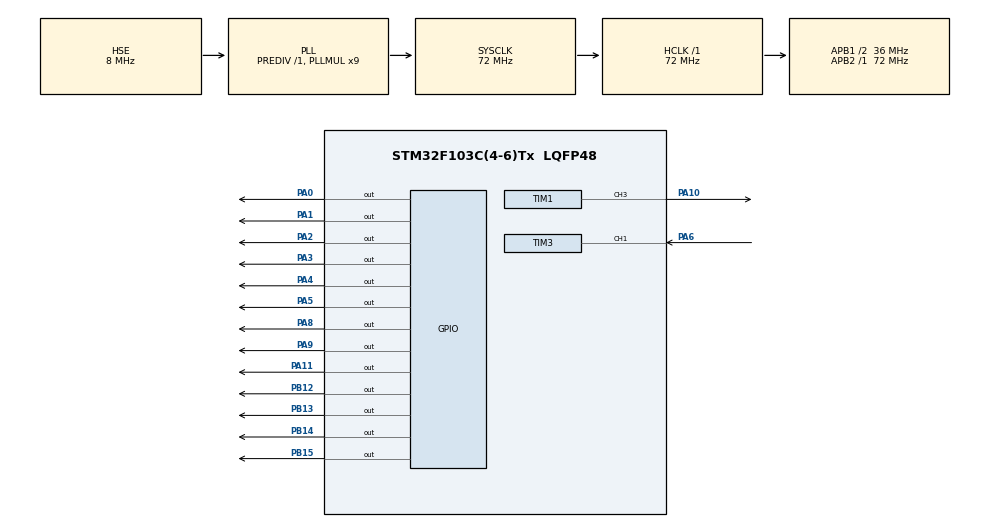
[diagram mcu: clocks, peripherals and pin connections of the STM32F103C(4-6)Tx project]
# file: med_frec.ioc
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Mcu.Family=STM32F1
Mcu.Name=STM32F103C(4-6)Tx
Mcu.Package=LQFP48
NVIC.PriorityGroup=NVIC_PRIORITYGROUP_4
NVIC.TIM2_IRQn=true\:0\:0\:false\:false\:true\:true\:true
PA0-WKUP.Signal=GPIO_Output
PA1.Signal=GPIO_Output
PA10.Signal=S_TIM1_CH3
PA11.Signal=GPIO_Output
PA13.Mode=Serial_Wire
PA13.Signal=SYS_JTMS-SWDIO
PA14.Mode=Serial_Wire
PA14.Signal=SYS_JTCK-SWCLK
PA2.Signal=GPIO_Output
PA3.Signal=GPIO_Output
PA4.Signal=GPIO_Output
PA5.Signal=GPIO_Output
PA6.Signal=S_TIM3_CH1
PA8.Signal=GPIO_Output
PA9.Signal=GPIO_Output
PB12.Signal=GPIO_Output
PB13.Signal=GPIO_Output
PB14.Signal=GPIO_Output
PB15.Signal=GPIO_Output
PD0-OSC_IN.Mode=HSE-External-Oscillator
PD0-OSC_IN.Signal=RCC_OSC_IN
PD1-OSC_OUT.Mode=HSE-External-Oscillator
PD1-OSC_OUT.Signal=RCC_OSC_OUT
ProjectManager.HeapSize=0x200
ProjectManager.StackSize=0x400
ProjectManager.TargetToolchain=STM32CubeIDE
RCC.AHBFreq_Value=72000000
RCC.APB1CLKDivider=RCC_HCLK_DIV2
RCC.APB1Freq_Value=36000000
RCC.APB1TimFreq_Value=72000000
RCC.APB2Freq_Value=72000000
RCC.APB2TimFreq_Value=72000000
RCC.HCLKFreq_Value=72000000
RCC.PLLMUL=RCC_PLL_MUL9
RCC.PLLSourceVirtual=RCC_PLLSOURCE_HSE
RCC.SYSCLKFreq_VALUE=72000000
RCC.SYSCLKSource=RCC_SYSCLKSOURCE_PLLCLK
RCC.USBFreq_Value=72000000
SH.S_TIM1_CH3.0=TIM1_CH3,PWM Generation3 CH3
SH.S_TIM3_CH1.0=TIM3_CH1,TriggerSource_TI1FP1
TIM1.Channel-PWM\ Generation3\ CH3=TIM_CHANNEL_3
TIM1.Period=1999
TIM1.Prescaler=719
TIM1.Pulse-PWM\ Generation3\ CH3=500
TIM2.Period=1
TIM2.Prescaler=35999
TIM3.Period=0xFFFF
VP_TIM1_VS_ClockSourceINT.Mode=Internal
VP_TIM2_VS_ClockSourceINT.Mode=Internal
VP_TIM3_VS_ControllerModeClock.Mode=Clock Mode
board=custom

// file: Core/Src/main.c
/* USER CODE BEGIN Header */
/**
  ******************************************************************************
  * @file           : main.c
  * @brief          : Main program body
  ******************************************************************************
  * @attention
  *
  * <h2><center>&copy; Copyright (c) 2020 STMicroelectronics.
  * All rights reserved.</center></h2>
  *
  * This software component is licensed by ST under BSD 3-Clause license,
  * the "License"; You may not use this file except in compliance with the
  * License. You may obtain a copy of the License at:
  *                        opensource.org/licenses/BSD-3-Clause
  *
  ******************************************************************************
  */
/* USER CODE END Header */

#include "main.h"

/* USER CODE BEGIN Includes */
#include "LiquidCrystal.h"
/* USER CODE END Includes */

/* USER CODE BEGIN PD */
volatile uint32_t counter_f = 0;
volatile int escala = 0;
/* USER CODE END PD */

TIM_HandleTypeDef htim1;
TIM_HandleTypeDef htim2;
TIM_HandleTypeDef htim3;

void SystemClock_Config(void);
static void MX_GPIO_Init(void);
static void MX_TIM2_Init(void);
static void MX_TIM3_Init(void);
static void MX_TIM1_Init(void);

int main(void)
{

  /* MCU Configuration--------------------------------------------------------*/

  /* Reset of all peripherals, Initializes the Flash interface and the Systick. */
  HAL_Init();

  /* Configure the system clock */
  SystemClock_Config();

  /* Initialize all configured peripherals */
  MX_GPIO_Init();
  MX_TIM2_Init();
  MX_TIM3_Init();
  MX_TIM1_Init();
  /* USER CODE BEGIN 2 */
  HAL_TIM_Base_Start_IT(&htim2);
  HAL_TIM_Base_Start(&htim3);
  HAL_TIM_PWM_Start(&htim1, TIM_CHANNEL_3);
  LiquidCrystal(GPIOA, GPIO_PIN_5, GPIO_PIN_4, GPIO_PIN_11, GPIO_PIN_3, GPIO_PIN_2, GPIO_PIN_1, GPIO_PIN_0);
  noAutoscroll();
  /* USER CODE END 2 */

  /* Infinite loop */
  /* USER CODE BEGIN WHILE */
  while (1)
  {

	  if(counter_f >= 1 && counter_f <= 9){
		  HAL_GPIO_WritePin(GPIOB, GPIO_PIN_12, GPIO_PIN_SET);
		  HAL_GPIO_WritePin(GPIOB, GPIO_PIN_13, GPIO_PIN_RESET);
		  HAL_GPIO_WritePin(GPIOB, GPIO_PIN_14, GPIO_PIN_RESET);
		  HAL_GPIO_WritePin(GPIOB, GPIO_PIN_15, GPIO_PIN_RESET);
		  HAL_GPIO_WritePin(GPIOA, GPIO_PIN_8, GPIO_PIN_RESET);
		  HAL_GPIO_WritePin(GPIOA, GPIO_PIN_9, GPIO_PIN_RESET);
		  escala = counter_f;
		  print("khz");
	  }else if(counter_f >= 10 && counter_f <= 99){
		  HAL_GPIO_WritePin(GPIOB, GPIO_PIN_12, GPIO_PIN_RESET);
		  		  HAL_GPIO_WritePin(GPIOB, GPIO_PIN_13, GPIO_PIN_SET);
		  		  HAL_GPIO_WritePin(GPIOB, GPIO_PIN_14, GPIO_PIN_RESET);
		  		  HAL_GPIO_WritePin(GPIOB, GPIO_PIN_15, GPIO_PIN_RESET);
		  		  HAL_GPIO_WritePin(GPIOA, GPIO_PIN_8, GPIO_PIN_RESET);
		  		  HAL_GPIO_WritePin(GPIOA, GPIO_PIN_9, GPIO_PIN_RESET);
		  		  escala = counter_f;
		  		print("khz");
	  }else if(counter_f >= 104 && counter_f <= 999){
		  HAL_GPIO_WritePin(GPIOB, GPIO_PIN_12, GPIO_PIN_RESET);
		  		  HAL_GPIO_WritePin(GPIOB, GPIO_PIN_13, GPIO_PIN_RESET);
		  		  HAL_GPIO_WritePin(GPIOB, GPIO_PIN_14, GPIO_PIN_SET);
		  		  HAL_GPIO_WritePin(GPIOB, GPIO_PIN_15, GPIO_PIN_RESET);
		  		  HAL_GPIO_WritePin(GPIOA, GPIO_PIN_8, GPIO_PIN_RESET);
		  		  HAL_GPIO_WritePin(GPIOA, GPIO_PIN_9, GPIO_PIN_RESET);
		  		  escala = counter_f % 100;
		  		print("khz");
	  }else if(counter_f >= 1004 && counter_f <= 9999){
		  HAL_GPIO_WritePin(GPIOB, GPIO_PIN_12, GPIO_PIN_RESET);
		  		  HAL_GPIO_WritePin(GPIOB, GPIO_PIN_13, GPIO_PIN_RESET);
		  		  HAL_GPIO_WritePin(GPIOB, GPIO_PIN_14, GPIO_PIN_RESET);
		  		  HAL_GPIO_WritePin(GPIOB, GPIO_PIN_15, GPIO_PIN_SET);
		  		  HAL_GPIO_WritePin(GPIOA, GPIO_PIN_8, GPIO_PIN_RESET);
		  		  HAL_GPIO_WritePin(GPIOA, GPIO_PIN_9, GPIO_PIN_RESET);
		  		escala = counter_f % 100;
		  		print("Mhz");
	  }else if(counter_f >= 10004 && counter_f <= 99999){
		  HAL_GPIO_WritePin(GPIOB, GPIO_PIN_12, GPIO_PIN_RESET);
		  		  HAL_GPIO_WritePin(GPIOB, GPIO_PIN_13, GPIO_PIN_RESET);
		  		  HAL_GPIO_WritePin(GPIOB, GPIO_PIN_14, GPIO_PIN_RESET);
		  		  HAL_GPIO_WritePin(GPIOB, GPIO_PIN_15, GPIO_PIN_RESET);
		  		  HAL_GPIO_WritePin(GPIOA, GPIO_PIN_8, GPIO_PIN_SET);
		  		  HAL_GPIO_WritePin(GPIOA, GPIO_PIN_9, GPIO_PIN_RESET);
		  		escala = counter_f % 100;
		  		print("Mhz");
	  }else if(counter_f >= 100004 && counter_f <= 999999){
		  HAL_GPIO_WritePin(GPIOB, GPIO_PIN_12, GPIO_PIN_RESET);
		  		  HAL_GPIO_WritePin(GPIOB, GPIO_PIN_13, GPIO_PIN_RESET);
		  		  HAL_GPIO_WritePin(GPIOB, GPIO_PIN_14, GPIO_PIN_RESET);
		  		  HAL_GPIO_WritePin(GPIOB, GPIO_PIN_15, GPIO_PIN_RESET);
		  		  HAL_GPIO_WritePin(GPIOA, GPIO_PIN_8, GPIO_PIN_RESET);
		  		  HAL_GPIO_WritePin(GPIOA, GPIO_PIN_9, GPIO_PIN_SET);
		  		escala = counter_f % 100;
		  		print("Mhz");
	  }
	  print("frecuencia:");
	  printInt(counter_f);
	  if(escala >0 && escala <50){
		  escala = 200 - ((1.6)* escala);
	  }else if (escala >= 50 && escala <= 100){
		escala = 190 - ((1.4)* escala);
	  }
	  __HAL_TIM_SET_COMPARE(&htim1,TIM_CHANNEL_3,escala);

    /* USER CODE END WHILE */

  }
}

void SystemClock_Config(void)
{
  RCC_OscInitTypeDef RCC_OscInitStruct = {0};
  RCC_ClkInitTypeDef RCC_ClkInitStruct = {0};

  /** Initializes the CPU, AHB and APB busses clocks
  */
  RCC_OscInitStruct.OscillatorType = RCC_OSCILLATORTYPE_HSE;
  RCC_OscInitStruct.HSEState = RCC_HSE_ON;
  RCC_OscInitStruct.HSEPredivValue = RCC_HSE_PREDIV_DIV1;
  RCC_OscInitStruct.HSIState = RCC_HSI_ON;
  RCC_OscInitStruct.PLL.PLLState = RCC_PLL_ON;
  RCC_OscInitStruct.PLL.PLLSource = RCC_PLLSOURCE_HSE;
  RCC_OscInitStruct.PLL.PLLMUL = RCC_PLL_MUL9;
  if (HAL_RCC_OscConfig(&RCC_OscInitStruct) != HAL_OK)
  {
    Error_Handler();
  }
  /** Initializes the CPU, AHB and APB busses clocks
  */
  RCC_ClkInitStruct.ClockType = RCC_CLOCKTYPE_HCLK|RCC_CLOCKTYPE_SYSCLK
                              |RCC_CLOCKTYPE_PCLK1|RCC_CLOCKTYPE_PCLK2;
  RCC_ClkInitStruct.SYSCLKSource = RCC_SYSCLKSOURCE_PLLCLK;
  RCC_ClkInitStruct.AHBCLKDivider = RCC_SYSCLK_DIV1;
  RCC_ClkInitStruct.APB1CLKDivider = RCC_HCLK_DIV2;
  RCC_ClkInitStruct.APB2CLKDivider = RCC_HCLK_DIV1;

  if (HAL_RCC_ClockConfig(&RCC_ClkInitStruct, FLASH_LATENCY_2) != HAL_OK)
  {
    Error_Handler();
  }
}

static void MX_TIM1_Init(void)
{

  TIM_ClockConfigTypeDef sClockSourceConfig = {0};
  TIM_MasterConfigTypeDef sMasterConfig = {0};
  TIM_OC_InitTypeDef sConfigOC = {0};
  TIM_BreakDeadTimeConfigTypeDef sBreakDeadTimeConfig = {0};

  htim1.Instance = TIM1;
  htim1.Init.Prescaler = 719;
  htim1.Init.CounterMode = TIM_COUNTERMODE_UP;
  htim1.Init.Period = 1999;
  htim1.Init.ClockDivision = TIM_CLOCKDIVISION_DIV1;
  htim1.Init.RepetitionCounter = 0;
  htim1.Init.AutoReloadPreload = TIM_AUTORELOAD_PRELOAD_DISABLE;
  if (HAL_TIM_Base_Init(&htim1) != HAL_OK)
  {
    Error_Handler();
  }
  sClockSourceConfig.ClockSource = TIM_CLOCKSOURCE_INTERNAL;
  if (HAL_TIM_ConfigClockSource(&htim1, &sClockSourceConfig) != HAL_OK)
  {
    Error_Handler();
  }
  if (HAL_TIM_PWM_Init(&htim1) != HAL_OK)
  {
    Error_Handler();
  }
  sMasterConfig.MasterOutputTrigger = TIM_TRGO_RESET;
  sMasterConfig.MasterSlaveMode = TIM_MASTERSLAVEMODE_DISABLE;
  if (HAL_TIMEx_MasterConfigSynchronization(&htim1, &sMasterConfig) != HAL_OK)
  {
    Error_Handler();
  }
  sConfigOC.OCMode = TIM_OCMODE_PWM1;
  sConfigOC.Pulse = 500;
  sConfigOC.OCPolarity = TIM_OCPOLARITY_HIGH;
  sConfigOC.OCNPolarity = TIM_OCNPOLARITY_HIGH;
  sConfigOC.OCFastMode = TIM_OCFAST_DISABLE;
  sConfigOC.OCIdleState = TIM_OCIDLESTATE_RESET;
  sConfigOC.OCNIdleState = TIM_OCNIDLESTATE_RESET;
  if (HAL_TIM_PWM_ConfigChannel(&htim1, &sConfigOC, TIM_CHANNEL_3) != HAL_OK)
  {
    Error_Handler();
  }
  sBreakDeadTimeConfig.OffStateRunMode = TIM_OSSR_DISABLE;
  sBreakDeadTimeConfig.OffStateIDLEMode = TIM_OSSI_DISABLE;
  sBreakDeadTimeConfig.LockLevel = TIM_LOCKLEVEL_OFF;
  sBreakDeadTimeConfig.DeadTime = 0;
  sBreakDeadTimeConfig.BreakState = TIM_BREAK_DISABLE;
  sBreakDeadTimeConfig.BreakPolarity = TIM_BREAKPOLARITY_HIGH;
  sBreakDeadTimeConfig.AutomaticOutput = TIM_AUTOMATICOUTPUT_DISABLE;
  if (HAL_TIMEx_ConfigBreakDeadTime(&htim1, &sBreakDeadTimeConfig) != HAL_OK)
  {
    Error_Handler();
  }
  HAL_TIM_MspPostInit(&htim1);

}

static void MX_TIM2_Init(void)
{

  TIM_ClockConfigTypeDef sClockSourceConfig = {0};
  TIM_MasterConfigTypeDef sMasterConfig = {0};

  htim2.Instance = TIM2;
  htim2.Init.Prescaler = 35999;
  htim2.Init.CounterMode = TIM_COUNTERMODE_UP;
  htim2.Init.Period = 1;
  htim2.Init.ClockDivision = TIM_CLOCKDIVISION_DIV1;
  htim2.Init.AutoReloadPreload = TIM_AUTORELOAD_PRELOAD_DISABLE;
  if (HAL_TIM_Base_Init(&htim2) != HAL_OK)
  {
    Error_Handler();
  }
  sClockSourceConfig.ClockSource = TIM_CLOCKSOURCE_INTERNAL;
  if (HAL_TIM_ConfigClockSource(&htim2, &sClockSourceConfig) != HAL_OK)
  {
    Error_Handler();
  }
  sMasterConfig.MasterOutputTrigger = TIM_TRGO_RESET;
  sMasterConfig.MasterSlaveMode = TIM_MASTERSLAVEMODE_DISABLE;
  if (HAL_TIMEx_MasterConfigSynchronization(&htim2, &sMasterConfig) != HAL_OK)
  {
    Error_Handler();
  }

}

static void MX_TIM3_Init(void)
{

  TIM_SlaveConfigTypeDef sSlaveConfig = {0};
  TIM_MasterConfigTypeDef sMasterConfig = {0};

  htim3.Instance = TIM3;
  htim3.Init.Prescaler = 0;
  htim3.Init.CounterMode = TIM_COUNTERMODE_UP;
  htim3.Init.Period = 0xFFFF;
  htim3.Init.ClockDivision = TIM_CLOCKDIVISION_DIV1;
  htim3.Init.AutoReloadPreload = TIM_AUTORELOAD_PRELOAD_DISABLE;
  if (HAL_TIM_Base_Init(&htim3) != HAL_OK)
  {
    Error_Handler();
  }
  sSlaveConfig.SlaveMode = TIM_SLAVEMODE_EXTERNAL1;
  sSlaveConfig.InputTrigger = TIM_TS_TI1FP1;
  sSlaveConfig.TriggerPolarity = TIM_TRIGGERPOLARITY_RISING;
  sSlaveConfig.TriggerFilter = 0;
  if (HAL_TIM_SlaveConfigSynchro(&htim3, &sSlaveConfig) != HAL_OK)
  {
    Error_Handler();
  }
  sMasterConfig.MasterOutputTrigger = TIM_TRGO_RESET;
  sMasterConfig.MasterSlaveMode = TIM_MASTERSLAVEMODE_DISABLE;
  if (HAL_TIMEx_MasterConfigSynchronization(&htim3, &sMasterConfig) != HAL_OK)
  {
    Error_Handler();
  }

}

static void MX_GPIO_Init(void)
{
  GPIO_InitTypeDef GPIO_InitStruct = {0};

  /* GPIO Ports Clock Enable */
  __HAL_RCC_GPIOD_CLK_ENABLE();
  __HAL_RCC_GPIOA_CLK_ENABLE();
  __HAL_RCC_GPIOB_CLK_ENABLE();

  /*Configure GPIO pin Output Level */
  HAL_GPIO_WritePin(GPIOA, GPIO_PIN_0|GPIO_PIN_1|GPIO_PIN_2|GPIO_PIN_3
                          |GPIO_PIN_4|GPIO_PIN_5|GPIO_PIN_8|GPIO_PIN_9
                          |GPIO_PIN_11, GPIO_PIN_RESET);

  /*Configure GPIO pin Output Level */
  HAL_GPIO_WritePin(GPIOB, GPIO_PIN_12|GPIO_PIN_13|GPIO_PIN_14|GPIO_PIN_15, GPIO_PIN_RESET);

  /*Configure GPIO pins : PA0 PA1 PA2 PA3
                           PA4 PA5 PA8 PA9
                           PA11 */
  GPIO_InitStruct.Pin = GPIO_PIN_0|GPIO_PIN_1|GPIO_PIN_2|GPIO_PIN_3
                          |GPIO_PIN_4|GPIO_PIN_5|GPIO_PIN_8|GPIO_PIN_9
                          |GPIO_PIN_11;
  GPIO_InitStruct.Mode = GPIO_MODE_OUTPUT_PP;
  GPIO_InitStruct.Pull = GPIO_NOPULL;
  GPIO_InitStruct.Speed = GPIO_SPEED_FREQ_LOW;
  HAL_GPIO_Init(GPIOA, &GPIO_InitStruct);

  /*Configure GPIO pins : PB12 PB13 PB14 PB15 */
  GPIO_InitStruct.Pin = GPIO_PIN_12|GPIO_PIN_13|GPIO_PIN_14|GPIO_PIN_15;
  GPIO_InitStruct.Mode = GPIO_MODE_OUTPUT_PP;
  GPIO_InitStruct.Pull = GPIO_NOPULL;
  GPIO_InitStruct.Speed = GPIO_SPEED_FREQ_LOW;
  HAL_GPIO_Init(GPIOB, &GPIO_InitStruct);

}

/* USER CODE BEGIN 4 */
void HAL_TIM_PeriodElapsedCallback(TIM_HandleTypeDef *htim){
	if(htim->Instance == TIM2 ){
			counter_f = __HAL_TIM_GET_COUNTER(&htim3);
			__HAL_TIM_SET_COUNTER(&htim3,0);
	}
}
/* USER CODE END 4 */

void Error_Handler(void)
{
}

/************************ (C) COPYRIGHT STMicroelectronics *****END OF FILE****/
